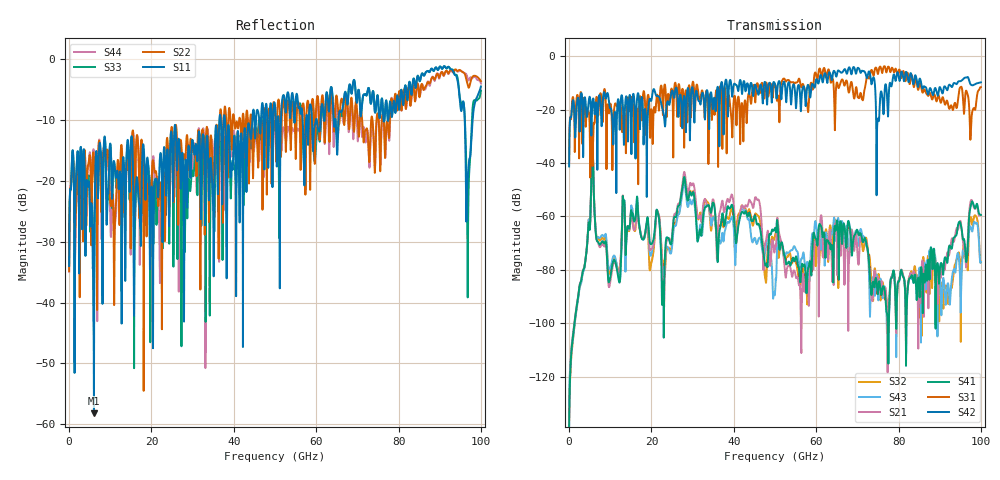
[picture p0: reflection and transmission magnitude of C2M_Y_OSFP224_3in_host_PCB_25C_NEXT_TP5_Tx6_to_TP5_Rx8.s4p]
# GHz S RI R 45
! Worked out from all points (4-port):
!   4000 points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, 25 MHz to 100 GHz, reference 45 ohm
!   strongest paths, dB at 25 MHz, 25.02 GHz, 50.02 GHz, 75.03 GHz, 100 GHz:
!     S42: -41.3, -12.9, -10.5, -23.3, -9.8
!     S31: -40.1, -12.9, -10.6, -6.6, -11.6
!     S41: -138.9, -68.1, -64.3, -88.3, -59.4
!     S21: -139.3, -67.3, -71.7, -82.7, -59.5
!     S43: -130.7, -71.2, -88.5, -89.2, -77.0
!     S32: -135.2, -70.3, -67.1, -82.2, -77.0
!   lowest |S11| = -58.2 dB at 6.05 GHz (marker M1), VSWR 1.00, Z = 44.9 + j0.0964 ohm
!   |S11| at or under -10 dB: start of sweep to 36.5 GHz; 37.88 GHz to 44.5 GHz (6.618 GHz wide, 16.1 % of centre); 96.08 GHz to 98 GHz (1.926 GHz wide, 1.98 % of centre) (the widest 3 of 21)
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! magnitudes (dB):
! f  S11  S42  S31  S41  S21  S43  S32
! 25 MHz  -34.0  -41.3  -40.1  -138.9  -139.3  -130.7  -135.2
! 6.05 GHz  -58.2  -18.0  -24.9  -52.8  -52.7  -52.5  -52.4
! 9.85 GHz  -15.1  -19.1  -19.8  -84.0  -86.0  -79.7  -81.5
! 22.98 GHz  -15.5  -21.6  -14.6  -97.6  -87.1  -81.1  -77.8
! 27.98 GHz  -30.7  -14.9  -32.8  -45.2  -43.3  -47.2  -45.3
! 54.35 GHz  -5.9  -11.1  -9.7  -75.5  -81.6  -72.1  -76.4
! 100 GHz  -4.5  -9.8  -11.6  -59.4  -59.5  -77.0  -77.0
